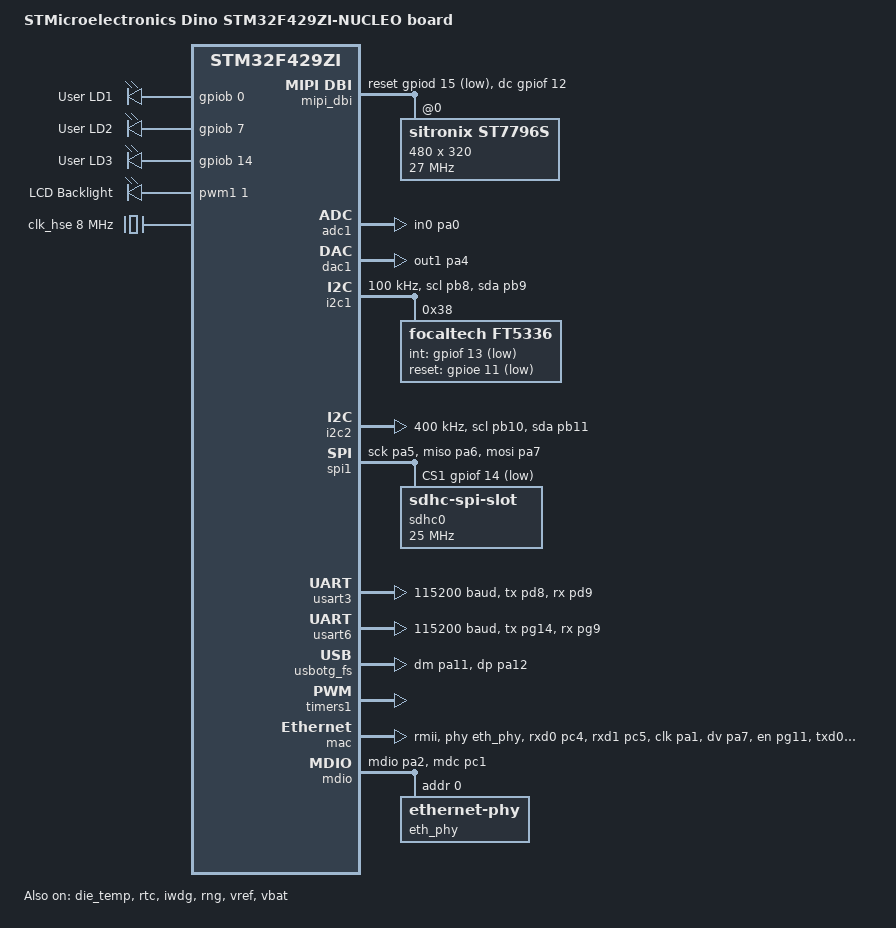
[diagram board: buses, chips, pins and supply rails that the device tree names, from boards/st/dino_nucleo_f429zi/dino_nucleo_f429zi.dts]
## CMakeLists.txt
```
cmake_minimum_required(VERSION 3.20.0)

list(APPEND BOARD_ROOT ${CMAKE_CURRENT_SOURCE_DIR})
list(APPEND ZEPHYR_EXTRA_MODULES ${CMAKE_CURRENT_SOURCE_DIR}/modules/fs/fatfs)

find_package(Zephyr REQUIRED HINTS $ENV{ZEPHYR_BASE})
project(stm32_touchscreen_dino)

target_sources(app PRIVATE src/main.cpp src/display/display.cpp)
target_include_directories(app PRIVATE src)
target_include_directories(app PRIVATE ${CMAKE_CURRENT_SOURCE_DIR}/external/zephyr/modules/fatfs)
target_include_directories(app PRIVATE ${CMAKE_CURRENT_SOURCE_DIR}/modules/fs/fatfs/include)
target_compile_definitions(app PRIVATE ZEPHYR_CONFIG_OVERRIDE=zephyr_fatfs_config.h)
```

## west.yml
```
manifest:
  version: "1.2"

  remotes:
    - name: zephyrproject-rtos
      url-base: https://github.com/zephyrproject-rtos

  projects:
    - name: zephyr
      remote: zephyrproject-rtos
      revision: v4.4.0-rc2
      path: external/zephyr
      import: true

  self:
    path: .
```

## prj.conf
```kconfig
CONFIG_SERIAL=y
CONFIG_CONSOLE=y
CONFIG_UART_CONSOLE=y
CONFIG_PRINTK=y
CONFIG_LOG=y
CONFIG_LOG_MODE_IMMEDIATE=y
CONFIG_GPIO=y

CONFIG_SHELL=y
CONFIG_SHELL_BACKEND_SERIAL=y
CONFIG_SHELL_PROMPT_UART="dino:~$ "
CONFIG_DEVICE_SHELL=y
CONFIG_I2C_SHELL=y

CONFIG_GPIO_SHELL=y

# Display: ST7796S via MIPI DBI SPI
CONFIG_SPI=y
CONFIG_MIPI_DBI=y
CONFIG_ST7796S=y
CONFIG_DISPLAY=y
CONFIG_SDHC=y
CONFIG_SD_LOG_LEVEL_OFF=y
CONFIG_SDHC_LOG_LEVEL_OFF=y
CONFIG_DISK_ACCESS=y
CONFIG_DISK_LOG_LEVEL_OFF=y
CONFIG_FILE_SYSTEM=y
CONFIG_FAT_FILESYSTEM_ELM=y
CONFIG_FS_FATFS_LFN=y
CONFIG_FS_FATFS_MAX_LFN=64
CONFIG_DISK_DRIVER_SDMMC=y

# Capacitive touch: FT5336/FT6x36 confirmed at 0x38 on I2C1
# Use synchronous input handling so interrupt-driven touch events do not
# overflow the deferred input queue.
CONFIG_I2C=y
CONFIG_INPUT=y
CONFIG_INPUT_MODE_SYNCHRONOUS=y
CONFIG_INPUT_FT5336_INTERRUPT=y

CONFIG_HEAP_MEM_POOL_SIZE=16384
CONFIG_MAIN_STACK_SIZE=16384

# PWM for backlight
CONFIG_PWM=y
```

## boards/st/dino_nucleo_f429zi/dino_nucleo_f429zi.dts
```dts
/*
 * Copyright (c) 2017 Linaro Limited
 *
 * SPDX-License-Identifier: Apache-2.0
 */

/dts-v1/;
#include <st/f4/stm32f429Xi.dtsi>
#include <st/f4/stm32f429zitx-pinctrl.dtsi>
#include "arduino_r3_connector.dtsi"
#include <zephyr/dt-bindings/input/input-event-codes.h>
#include <zephyr/dt-bindings/mipi_dbi/mipi_dbi.h>

/ {
	model = "STMicroelectronics Dino STM32F429ZI-NUCLEO board";
	compatible = "dino,stm32f429zi-nucleo";

	chosen {
		zephyr,console = &usart3;
		zephyr,shell-uart = &usart3;
		zephyr,sram = &sram0;
		zephyr,flash = &flash0;
		zephyr,dtcm = &ccm0;
		zephyr,code-partition = &slot0_partition;
		zephyr,display = &st7796s;
		zephyr,touch = &ft5336;
	};

	leds: leds {
		compatible = "gpio-leds";

		green_led_1: led_1 {
			gpios = <&gpiob 0 GPIO_ACTIVE_HIGH>;
			label = "User LD1";
		};

		blue_led_1: led_2 {
			gpios = <&gpiob 7 GPIO_ACTIVE_HIGH>;
			label = "User LD2";
		};

		red_led_1: led_3 {
			gpios = <&gpiob 14 GPIO_ACTIVE_HIGH>;
			label = "User LD3";
		};
	};

	gpio_keys {
		compatible = "gpio-keys";

		user_button: button {
			label = "User";
			gpios = <&gpioc 13 GPIO_ACTIVE_HIGH>;
			zephyr,code = <INPUT_KEY_0>;
			status = "disabled";
		};
	};

	aliases {
		led0 = &green_led_1;
		led1 = &blue_led_1;
		led2 = &red_led_1;
		sw0 = &user_button;
		watchdog0 = &iwdg;
		die-temp0 = &die_temp;
		volt-sensor0 = &vref;
		volt-sensor1 = &vbat;
		pwm-lcd-backlight = &lcd_backlight;
		sdhc0 = &sdhc0;
	};

	pwmleds {
		compatible = "pwm-leds";

		lcd_backlight: lcd_backlight {
			pwms = <&pwm1 1 PWM_MSEC(1) PWM_POLARITY_NORMAL>;
			label = "LCD Backlight";
		};
	};

	mipi_dbi: mipi_dbi {
		compatible = "zephyr,mipi-dbi-spi";
		spi-dev = <&spi1>;
		dc-gpios = <&gpiof 12 GPIO_ACTIVE_HIGH>;
		reset-gpios = <&gpiod 15 GPIO_ACTIVE_LOW>;
		write-only;
		#address-cells = <1>;
		#size-cells = <0>;

		st7796s: st7796s@0 {
			compatible = "sitronix,st7796s";
			reg = <0>;
			mipi-max-frequency = <27000000>;
			mipi-mode = "MIPI_DBI_MODE_SPI_4WIRE";
			rgb-is-inverted;
			height = <320>;
			width = <480>;
			invert-mode = "1-dot";
			frmctl1 = [80 10];
			bpc = [02 02 00 04];
			dfc = [80 02 3b];
			pwr1 = [80 25];
			pwr2 = <0x13>;
			pwr3 = <0x0a>;
			vcmpctl = <0x1c>;
			doca = [40 8a 00 00 25 0a 38 33];
			pgc = [f0 09 0b 06 04 15 2f 54 42 3c 17 14 18 1b];
			ngc = [e0 09 0b 06 04 03 2b 43 42 3b 16 14 17 1b];
			madctl = <0xE8>;
		};
	};
};

&clk_lsi {
	status = "okay";
};

&clk_hse {
	hse-bypass;
	clock-frequency = <DT_FREQ_M(8)>; /* STLink 8MHz clock */
	status = "okay";
};

&pll {
	div-m = <8>;
	mul-n = <336>;
	div-p = <2>;
	div-q = <7>;
	clocks = <&clk_hse>;
	status = "okay";
};

&rcc {
	clocks = <&pll>;
	clock-frequency = <DT_FREQ_M(168)>; /* highest value to get a precise USB clock */
	ahb-prescaler = <1>;
	apb1-prescaler = <4>;
	apb2-prescaler = <2>;
};

&adc1 {
	pinctrl-0 = <&adc1_in0_pa0>;
	pinctrl-names = "default";
	st,adc-clock-source = "SYNC";
	st,adc-prescaler = <2>;
	status = "okay";
};

&die_temp {
	status = "okay";
};

&dac1 {
	status = "okay";
	pinctrl-0 = <&dac_out1_pa4>;
	pinctrl-names = "default";
};

&i2c1 {
	pinctrl-0 = <&i2c1_scl_pb8 &i2c1_sda_pb9>;
	pinctrl-names = "default";
	status = "okay";
	clock-frequency = <I2C_BITRATE_STANDARD>;

		/* FT5336/FT6x36 capacitive touch — confirmed at 0x38 via I2C scan
		 * D15=PB8=SCL, D14=PB9=SDA, D7=PF13=INT, D5=PE11=RST */
		ft5336: ft5336@38 {
			compatible = "focaltech,ft5336";
			reg = <0x38>;
			int-gpios = <&gpiof 13 GPIO_ACTIVE_LOW>;
			reset-gpios = <&gpioe 11 GPIO_ACTIVE_LOW>;
			screen-width = <480>;
			screen-height = <320>;
			status = "okay";
		};
};

&i2c2 {
	pinctrl-0 = <&i2c2_scl_pb10 &i2c2_sda_pb11>;
	pinctrl-names = "default";
	status = "okay";
	clock-frequency = <I2C_BITRATE_FAST>;
};

&spi1 {
	pinctrl-0 = <&spi1_sck_pa5 &spi1_miso_pa6 &spi1_mosi_pa7>;
	pinctrl-names = "default";
	cs-gpios = <&gpiod 14 (GPIO_ACTIVE_LOW | GPIO_PULL_UP)>,
		   <&gpiof 14 (GPIO_ACTIVE_LOW | GPIO_PULL_UP)>;
	status = "okay";

	sdhc0: sdhc@1 {
		compatible = "zephyr,sdhc-spi-slot";
		reg = <1>;
		status = "okay";
		spi-max-frequency = <25000000>;

		mmc {
			compatible = "zephyr,sdmmc-disk";
			disk-name = "SD";
			status = "okay";
		};
	};
};

&usart3 {
	pinctrl-0 = <&usart3_tx_pd8 &usart3_rx_pd9>;
	pinctrl-names = "default";
	current-speed = <115200>;
	status = "okay";
};

&usart6 {
	pinctrl-0 = <&usart6_tx_pg14 &usart6_rx_pg9>;
	pinctrl-names = "default";
	current-speed = <115200>;
	status = "okay";
};

zephyr_udc0: &usbotg_fs {
	pinctrl-0 = <&usb_otg_fs_dm_pa11 &usb_otg_fs_dp_pa12>;
	pinctrl-names = "default";
	status = "okay";
};

&timers1 {
	st,prescaler = <10000>;
	status = "okay";

	pwm1: pwm {
		status = "okay";
		pinctrl-0 = <&tim1_ch1_pe9>;
		pinctrl-names = "default";
	};
};

&rtc {
	clocks = <&rcc STM32_CLOCK(APB1, 28)>,
		 <&rcc STM32_SRC_LSI RTC_SEL(2)>;
	status = "okay";
};

&iwdg {
	status = "okay";
};

&rng {
	status = "okay";
};

&dma2 {
	status = "okay";
};

&mac {
	status = "okay";
	pinctrl-0 = <&eth_rxd0_pc4
		     &eth_rxd1_pc5
		     &eth_ref_clk_pa1
		     &eth_crs_dv_pa7
		     &eth_tx_en_pg11
		     &eth_txd0_pg13
		     &eth_txd1_pb13>;
	pinctrl-names = "default";
	phy-connection-type = "rmii";
	phy-handle = <&eth_phy>;
};

&mdio {
	status = "okay";
	pinctrl-0 = <&eth_mdio_pa2 &eth_mdc_pc1>;
	pinctrl-names = "default";

	eth_phy: ethernet-phy@0 {
		compatible = "ethernet-phy";
		reg = <0x00>;
	};
};

&flash0 {
	partitions {
		compatible = "fixed-partitions";
		#address-cells = <1>;
		#size-cells = <1>;

		/* 32KB for bootloader */
		boot_partition: partition@0 {
			label = "mcuboot";
			reg = <0x00000000 DT_SIZE_K(32)>;
			read-only;
		};

		/*
		 * nvs subsystem requires 2 sectors with a max total of 32K
		 * On F4 series, the only option is to use the following
		 * partition, which is compatible with mcuboot usage.
		 * Keep it commented in order it is not used by CI.
		 *
		 * storage_partition: partition@8000 {
		 *	label = "storage";
		 *	reg = <0x0008000 DT_SIZE_K(32)>;
		 * };
		 */

		/* application image slot: 256KB */
		slot0_partition: partition@20000 {
			label = "image-0";
			reg = <0x00020000 DT_SIZE_K(256)>;
		};

		/* backup slot: 256KB */
		slot1_partition: partition@60000 {
			label = "image-1";
			reg = <0x00060000 DT_SIZE_K(256)>;
		};

		/* swap slot: 128KB */
		scratch_partition: partition@a0000 {
			label = "image-scratch";
			reg = <0x000a0000 DT_SIZE_K(128)>;
		};
	};
};

&vref {
	status = "okay";
};

&vbat {
	status = "okay";
};
```

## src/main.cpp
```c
#include <zephyr/kernel.h>
#include <zephyr/device.h>
#include <zephyr/drivers/display.h>
#include <zephyr/drivers/i2c.h>
#include <zephyr/drivers/pwm.h>
#include <zephyr/sys/printk.h>

#include "display/display.h"

#define LCD_BACKLIGHT_NODE DT_ALIAS(pwm_lcd_backlight)
static const pwm_dt_spec backlight = PWM_DT_SPEC_GET(LCD_BACKLIGHT_NODE);

int main()
{
    if (pwm_is_ready_dt(&backlight)) {
        pwm_set_pulse_dt(&backlight, backlight.period);
    }

    const struct device *display = DEVICE_DT_GET(DT_CHOSEN(zephyr_display));
    if (!device_is_ready(display)) {
        printk("Display not ready\n");
        return 1;
    }

    if (!app_display_touch_ready()) {
        printk("Touch not ready\n");
    }

    display_blanking_off(display);
    app_display_fill_screen(display, 0xFFFFu);
    app_display_draw_start_button(display);

    while (app_display_mount_animation_storage() != 0) {
        k_sleep(K_SECONDS(1));
    }

    while (app_display_load_game_assets(display) != 0) {
        printk("Waiting for /SD:/dino.rgb565 and /SD:/ground.rgb565 ...\n");
        k_sleep(K_SECONDS(1));
    }

    uint8_t step = 0;
    app_display_screen screen = APP_DISPLAY_SCREEN_MENU;

    while (true) {
        if (app_display_take_start_pressed()) {
            app_display_reset_game();
            app_display_draw_game_screen(display);
            screen = APP_DISPLAY_SCREEN_GAME;
        }

        if (app_display_take_exit_pressed()) {
            app_display_fill_screen(display, APP_DISPLAY_BG_COLOR);
            app_display_reset_game();
            app_display_reset_dino_animation();
            step = 0;
            app_display_draw_start_button(display);
            screen = APP_DISPLAY_SCREEN_MENU;
        }

        if (screen == APP_DISPLAY_SCREEN_MENU) {
            app_display_step_dino(display, step);
            step = (step + 1U) % APP_DISPLAY_DINO_STEPS;
        } else {
            app_display_step_game(display);
        }

        k_sleep(screen == APP_DISPLAY_SCREEN_MENU
                ? APP_DISPLAY_ANIMATION_DELAY
                : APP_DISPLAY_GAME_DELAY);
    }

    while (true) {
        k_sleep(K_FOREVER);
    }
    return 0;
}
```
